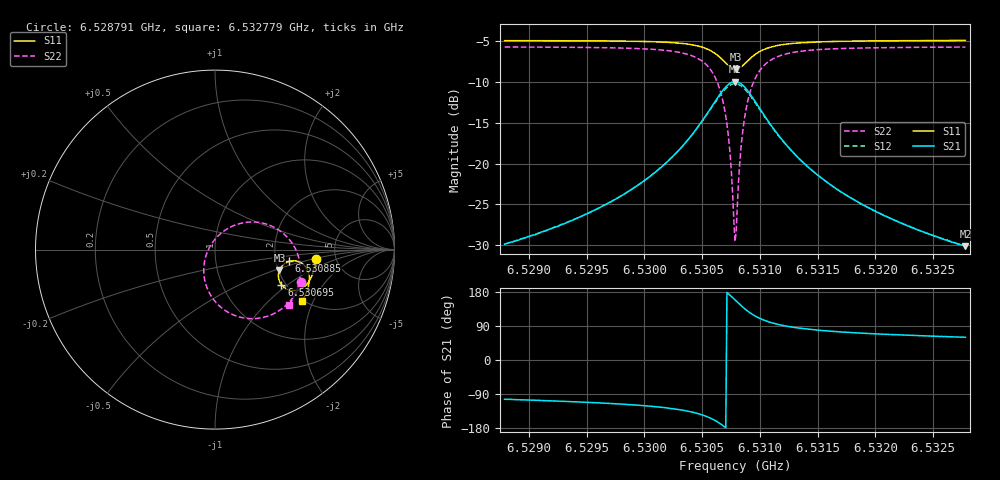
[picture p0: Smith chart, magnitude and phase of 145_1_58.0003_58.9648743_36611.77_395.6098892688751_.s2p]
#  HZ  S  RI  R  50.00
! Rohde & Schwarz Vector Network Analyzer
! Rohde-Schwarz,ZNB20-2Port,1311601062101988,3.16
! Created: UTC 3/21/2024, 12:56:47 AM
! freq[Hz]  re:S11  im:S11  re:S21  im:S21  re:S12  im:S12  re:S22  im:S22
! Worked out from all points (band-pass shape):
!   401 points, 6.528791 GHz to 6.532779 GHz, reference 50 ohm
!   highest |S21| = -9.98 dB at 6.530785 GHz (marker M1); lowest = -30.1 dB at 6.532779 GHz (marker M2)
!   |S21| within 3 dB of the highest: 6.530586 GHz to 6.530985 GHz (399.3 kHz wide, 0.00611 % of centre)
!   lowest |S11| = -8.5 dB at 6.530795 GHz (marker M3), VSWR 2.21, Z = 101 - j27 ohm
!   |S11| at or under -10 dB: nowhere
!   |S22| runs from -29.5 to -5.8 dB; largest |S21 - S12| = 0.013
!   S11 on the Smith chart (normalised r, x): 6.528791 GHz: 3.49, -0.53; 6.530695 GHz: 1.90, -0.90; 6.530885 GHz: 2.36, -0.38; 6.532779 GHz: 1.96, -1.66
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6.5287905e9  0.5605 -0.0524  -0.00758 -0.0312  -0.00819 -0.0311  0.4815 -0.183
6.5294586e9  0.5512 -0.1088  -0.0172 -0.0445  -0.0183 -0.0442  0.4493 -0.2458
6.5298276e9  0.5406 -0.1439  -0.0295 -0.0581  -0.0311 -0.0574  0.4161 -0.2897
6.5301268e9  0.5241 -0.1773  -0.0519 -0.0765  -0.0541 -0.0751  0.3648 -0.335
6.5303561e9  0.497 -0.2078  -0.0927 -0.0969  -0.0958 -0.0935  0.2815 -0.3745
6.5305256e9  0.4526 -0.2278  -0.1631 -0.1037  -0.1655 -0.0968  0.1516 -0.379
6.5306254e9  0.4064 -0.2228  -0.2348 -0.0768  -0.234 -0.0666  0.0313 -0.3199
6.5306952e9  0.37 -0.195  -0.288 -0.0167  -0.2819 -0.00597  -0.0464 -0.2081
6.530735e9  0.3561 -0.1664  -0.3047 0.0378  -0.2951 0.0465  -0.0628 -0.1145
6.5307749e9  0.3544 -0.1317  -0.3 0.1003  -0.2885 0.1051  -0.0428 -0.0131
6.5307849e9  0.3563 -0.123  -0.295 0.1155  -0.2832 0.1195  -0.0315 0.011
6.5307949e9  0.3592 -0.1143  -0.2885 0.1303  -0.2766 0.1331  -0.018 0.0337
6.5308049e9  0.3628 -0.1064  -0.2804 0.1443  -0.2689 0.1461  -0.00225 0.0549
6.5308248e9  0.3726 -0.092  -0.2609 0.1694  -0.25 0.169  0.0345 0.0919
6.5308447e9  0.3847 -0.0801  -0.2378 0.1893  -0.228 0.1876  0.0759 0.1203
6.5308846e9  0.4122 -0.0656  -0.1877 0.2134  -0.1804 0.2102  0.1634 0.1505
6.5309544e9  0.4567 -0.0644  -0.1099 0.2161  -0.1061 0.2127  0.2941 0.1393
6.5310542e9  0.496 -0.086  -0.0428 0.1844  -0.0411 0.1826  0.4022 0.0695
6.5312037e9  0.5193 -0.1223  -0.00213 0.1365  -0.000775 0.1358  0.4616 -0.0285
6.531453e9  0.5258 -0.1661  0.0154 0.0892  0.0164 0.089  0.4765 -0.1284
6.5321212e9  0.5097 -0.2372  0.0179 0.0429  0.0187 0.0428  0.4481 -0.2459
6.5327793e9  0.4858 -0.288  0.0157 0.027  0.0162 0.0268  0.4138 -0.3059
